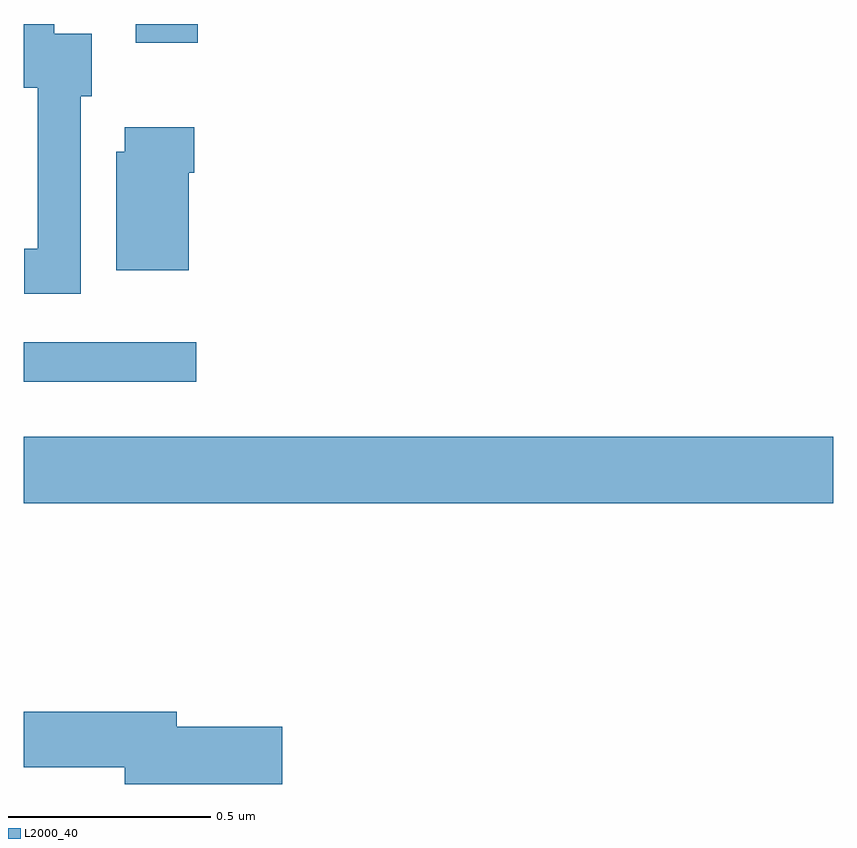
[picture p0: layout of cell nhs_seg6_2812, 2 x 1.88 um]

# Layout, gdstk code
import gdstk
lib = gdstk.Library(unit=1e-6, precision=1e-09)
def R(c, l, rs):  # rectangles x0, y0, x1, y1
    for r in rs: c.add(gdstk.rectangle(r[:2], r[2:], *l))
def P(c, l, *ps):  # polygons
    for p in ps: c.add(gdstk.Polygon(p, *l))
L2000_40 = (2000, 40)

nhs_seg6_2812 = lib.new_cell('nhs_seg6_2812')
R(nhs_seg6_2812, L2000_40, [(148,967.316,150,967.48), (148,967.616,148.426,967.713), (148.277,968.454,148.43,968.5)])
P(nhs_seg6_2812, L2000_40, [(148.141,968.322),(148.168,968.322),(148.168,968.476),(148.075,968.476),(148.075,968.5),(148,968.5),(148,968.342),(148.034,968.342),(148.034,967.945),(148.001,967.945),(148.001,967.833),(148.141,967.833)],
  [(148.408,968.132),(148.421,968.132),(148.421,968.245),(148.25,968.245),(148.25,968.184),(148.229,968.184),(148.229,967.892),(148.408,967.892)],
  [(148.639,966.764),(148.378,966.764),(148.378,966.8),(148,966.8),(148,966.664),(148.25,966.664),(148.25,966.622),(148.639,966.622)])

lib.write_gds('nhs_seg6_2812.gds')
